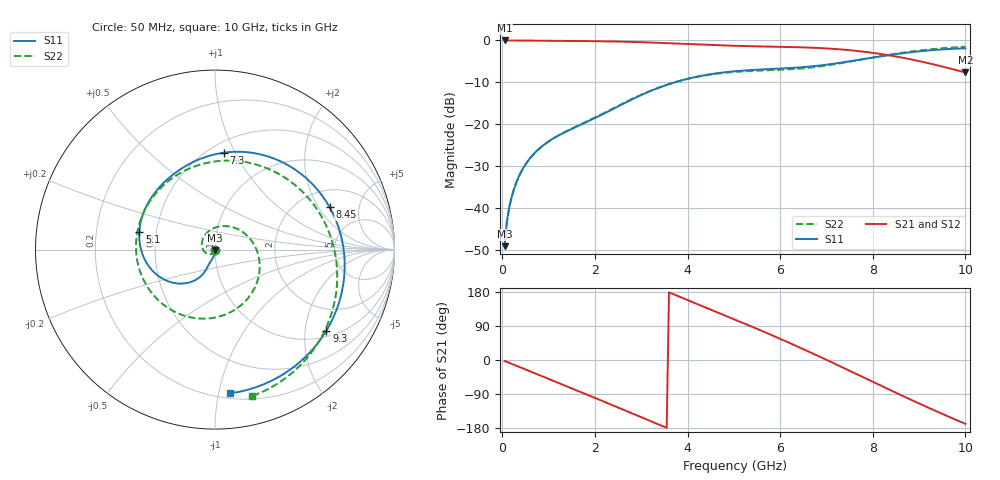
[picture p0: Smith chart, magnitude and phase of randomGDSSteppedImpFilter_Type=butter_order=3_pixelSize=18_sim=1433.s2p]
! freq	dB(S11)	phase(S11)	dB(S12)	phase(S12)
!  dB(S21)	phase(S21)	dB(S22)	phase(S22)
!S-par simulation data
#  GHz  S  DB  R 50
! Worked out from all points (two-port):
!   200 points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, 50 MHz to 10 GHz, reference 50 ohm
!   highest |S21| = 0.00 dB at 50 MHz (marker M1); lowest = -7.6 dB at 10 GHz (marker M2)
!   |S21| within 3 dB of the highest: start of sweep to 8.031 GHz
!   lowest |S11| = -49.0 dB at 50 MHz (marker M3), VSWR 1.01, Z = 50 - j0.353 ohm
!   |S11| at or under -10 dB: start of sweep to 3.718 GHz
!   |S22| runs from -49.0 to -1.5 dB; largest |S21 - S12| = 0
!   S11 on the Smith chart (normalised r, x): 50 MHz: 1.00, -0.01; 5.1 GHz: 0.40, +0.10; 7.3 GHz: 0.59, +0.90; 8.45 GHz: 2.88, +2.53; 9.3 GHz: 1.18, -2.60; 10 GHz: 0.24, -1.08
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0.05  -49.03 -89.1  -0.00 -2.5  -0.00 -2.5  -48.99 -91.0
0.1  -43.11 -90.0  -0.01 -5.0  -0.01 -5.0  -43.21 -95.4
0.2  -37.40 -92.5  -0.02 -10.0  -0.02 -10.0  -37.39 -104.6
0.5  -29.57 -100.4  -0.04 -24.9  -0.04 -24.9  -29.62 -130.4
1.15  -23.05 -110.1  -0.09 -57.3  -0.09 -57.3  -23.03 173.3
1.75  -19.83 -113.3  -0.15 -87.4  -0.15 -87.4  -19.71 116.5
2.5  -15.72 -117.6  -0.27 -125.4  -0.27 -125.4  -15.60 45.5
2.95  -13.27 -125.3  -0.40 -148.4  -0.40 -148.4  -13.19 7.6
3.4  -11.19 -136.7  -0.58 -171.4  -0.58 -171.4  -11.15 -26.7
4.15  -8.76 -160.4  -0.93 150.6  -0.93 150.6  -8.80 -78.6
4.6  -7.87 -175.8  -1.13 127.9  -1.13 127.9  -7.97 -108.1
5.05  -7.31 168.5  -1.29 105.2  -1.29 105.2  -7.47 -137.7
5.1  -7.26 166.7  -1.30 102.7  -1.30 102.7  -7.43 -141.1
5.9  -6.76 139.0  -1.49 61.2  -1.49 61.2  -7.04 163.3
6.7  -6.16 110.2  -1.73 17.4  -1.73 17.4  -6.42 103.3
7.3  -5.31 84.7  -2.13 -16.8  -2.13 -16.8  -5.45 59.6
7.85  -4.35 56.3  -2.74 -48.8  -2.74 -48.8  -4.36 24.0
8.35  -3.50 26.6  -3.54 -77.8  -3.54 -77.8  -3.41 -4.2
8.45  -3.34 20.3  -3.72 -83.6  -3.72 -83.6  -3.23 -9.3
8.9  -2.72 -9.1  -4.68 -109.2  -4.68 -109.2  -2.54 -31.1
9.3  -2.30 -36.0  -5.68 -131.4  -5.68 -131.4  -2.05 -48.6
10  -1.88 -83.9  -7.63 -168.4  -7.63 -168.4  -1.49 -75.7
